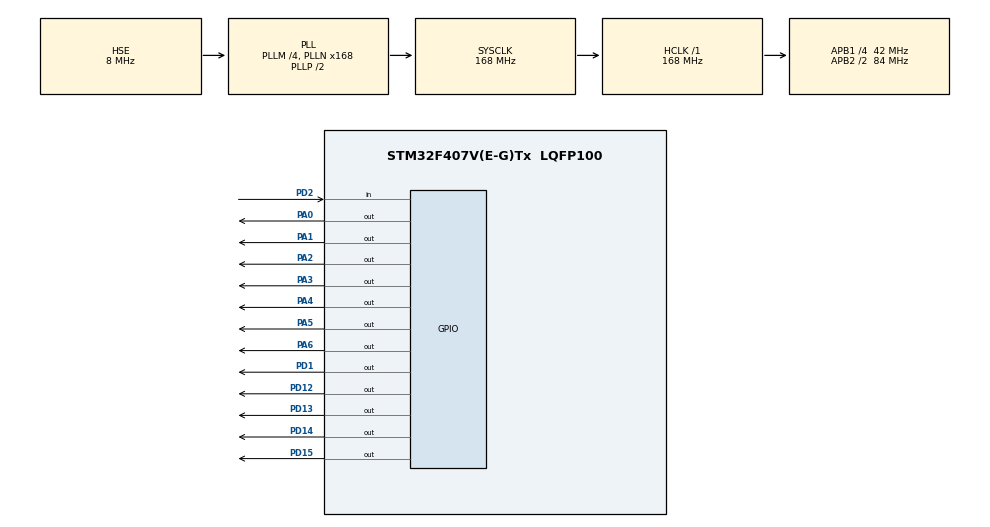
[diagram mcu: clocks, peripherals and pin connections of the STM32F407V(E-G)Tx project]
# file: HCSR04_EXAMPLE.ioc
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Mcu.Family=STM32F4
Mcu.Name=STM32F407V(E-G)Tx
Mcu.Package=LQFP100
NVIC.PriorityGroup=NVIC_PRIORITYGROUP_4
PA0-WKUP.Signal=GPIO_Output
PA1.Signal=GPIO_Output
PA2.Signal=GPIO_Output
PA3.Signal=GPIO_Output
PA4.Signal=GPIO_Output
PA5.Signal=GPIO_Output
PA6.Signal=GPIO_Output
PD1.Signal=GPIO_Output
PD12.Signal=GPIO_Output
PD13.Signal=GPIO_Output
PD14.Signal=GPIO_Output
PD15.Signal=GPIO_Output
PD2.Signal=GPIO_Input
PH0-OSC_IN.Mode=HSE-External-Oscillator
PH0-OSC_IN.Signal=RCC_OSC_IN
PH1-OSC_OUT.Mode=HSE-External-Oscillator
PH1-OSC_OUT.Signal=RCC_OSC_OUT
ProjectManager.HeapSize=0x200
ProjectManager.StackSize=0x400
ProjectManager.TargetToolchain=STM32CubeIDE
RCC.48MHZClocksFreq_Value=84000000
RCC.AHBFreq_Value=168000000
RCC.APB1CLKDivider=RCC_HCLK_DIV4
RCC.APB1Freq_Value=42000000
RCC.APB1TimFreq_Value=84000000
RCC.APB2CLKDivider=RCC_HCLK_DIV2
RCC.APB2Freq_Value=84000000
RCC.APB2TimFreq_Value=168000000
RCC.CortexFreq_Value=168000000
RCC.HCLKFreq_Value=168000000
RCC.HSE_VALUE=8000000
RCC.HSI_VALUE=16000000
RCC.LSE_VALUE=32768
RCC.PLLM=4
RCC.PLLN=168
RCC.PLLSourceVirtual=RCC_PLLSOURCE_HSE
RCC.SYSCLKFreq_VALUE=168000000
RCC.SYSCLKSource=RCC_SYSCLKSOURCE_PLLCLK
RCC.VCOOutputFreq_Value=336000000
board=custom

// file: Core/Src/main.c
/* USER CODE BEGIN Header */
/**
  ******************************************************************************
  * @file           : main.c
  * @brief          : Main program body
  ******************************************************************************
  * @attention
  *
  * Copyright (c) 2022 STMicroelectronics.
  * All rights reserved.
  *
  * This software is licensed under terms that can be found in the LICENSE file
  * in the root directory of this software component.
  * If no LICENSE file comes with this software, it is provided AS-IS.
  *
  ******************************************************************************
  */
/* USER CODE END Header */
#include "main.h"

/* USER CODE BEGIN Includes */

#include "dwt_stm32_delay.h"

/* USER CODE END Includes */

/* USER CODE BEGIN PV */
	uint32_t time;
	uint16_t distance;
/* USER CODE END PV */

void SystemClock_Config(void);
static void MX_GPIO_Init(void);

/* USER CODE BEGIN 0 */
	uint32_t Read_HCSR04(){
		uint32_t local_time=0;

		HAL_GPIO_WritePin(GPIOD, GPIO_PIN_1, GPIO_PIN_SET);
		DWT_Delay_us(10);
		HAL_GPIO_WritePin(GPIOD, GPIO_PIN_1, GPIO_PIN_RESET);
		while(!HAL_GPIO_ReadPin(GPIOD, GPIO_PIN_2));
		while(HAL_GPIO_ReadPin(GPIOD, GPIO_PIN_2)){
			local_time++;
			DWT_Delay_us(1);
		}
		return local_time;
	}
/* USER CODE END 0 */

int main(void)
{

  /* MCU Configuration--------------------------------------------------------*/

  /* Reset of all peripherals, Initializes the Flash interface and the Systick. */
  HAL_Init();

  /* Configure the system clock */
  SystemClock_Config();

  /* Initialize all configured peripherals */
  MX_GPIO_Init();
  /* USER CODE BEGIN 2 */
  DWT_Delay_Init();
  /* USER CODE END 2 */

  /* Infinite loop */
  while (1)
  {

    /* USER CODE BEGIN 3 */
	  time = Read_HCSR04();
	  distance = time / 58;

	switch(distance%10){
	case 0:
			HAL_GPIO_WritePin(GPIOA,GPIO_PIN_0 | GPIO_PIN_1 | GPIO_PIN_2 | GPIO_PIN_3 | GPIO_PIN_4 | GPIO_PIN_6, GPIO_PIN_SET);
			HAL_GPIO_WritePin(GPIOA,GPIO_PIN_5, GPIO_PIN_RESET);
	break;

	case 1:
			HAL_GPIO_WritePin(GPIOA,GPIO_PIN_1 | GPIO_PIN_2, GPIO_PIN_SET);
			HAL_GPIO_WritePin(GPIOA,GPIO_PIN_0| GPIO_PIN_3| GPIO_PIN_4| GPIO_PIN_5 | GPIO_PIN_6, GPIO_PIN_RESET);
	break;

	case 2:
			HAL_GPIO_WritePin(GPIOA,GPIO_PIN_0| GPIO_PIN_1 | GPIO_PIN_3 | GPIO_PIN_4| GPIO_PIN_5, GPIO_PIN_SET );
			HAL_GPIO_WritePin(GPIOA,GPIO_PIN_2| GPIO_PIN_6, GPIO_PIN_RESET);
	break;

	case 3:
			HAL_GPIO_WritePin(GPIOA,GPIO_PIN_0 | GPIO_PIN_1 | GPIO_PIN_2 | GPIO_PIN_3 | GPIO_PIN_5, GPIO_PIN_SET);
			HAL_GPIO_WritePin(GPIOA,GPIO_PIN_4 | GPIO_PIN_6, GPIO_PIN_RESET);
	break;

	case 4:
		HAL_GPIO_WritePin(GPIOA,GPIO_PIN_1 | GPIO_PIN_2 | GPIO_PIN_5 | GPIO_PIN_6, GPIO_PIN_SET);
		HAL_GPIO_WritePin(GPIOA,GPIO_PIN_0 | GPIO_PIN_3 | GPIO_PIN_4, GPIO_PIN_RESET);
	break;

	case 5:
		HAL_GPIO_WritePin(GPIOA,GPIO_PIN_0 | GPIO_PIN_2 | GPIO_PIN_3 | GPIO_PIN_5 | GPIO_PIN_6, GPIO_PIN_SET);
		HAL_GPIO_WritePin(GPIOA,GPIO_PIN_1 | GPIO_PIN_4, GPIO_PIN_RESET);
	break;

	case 6:
		HAL_GPIO_WritePin(GPIOA,GPIO_PIN_0 | GPIO_PIN_2 | GPIO_PIN_3 | GPIO_PIN_4 | GPIO_PIN_5 | GPIO_PIN_6, GPIO_PIN_SET);
		HAL_GPIO_WritePin(GPIOA,GPIO_PIN_1, GPIO_PIN_RESET);
	break;

	case 7:
		HAL_GPIO_WritePin(GPIOA,GPIO_PIN_0 | GPIO_PIN_1 | GPIO_PIN_2 | GPIO_PIN_6, GPIO_PIN_SET);
		HAL_GPIO_WritePin(GPIOA,GPIO_PIN_3 | GPIO_PIN_4 | GPIO_PIN_5, GPIO_PIN_RESET);
	break;

	case 8:
		HAL_GPIO_WritePin(GPIOA,GPIO_PIN_0 | GPIO_PIN_1 | GPIO_PIN_2 | GPIO_PIN_3 | GPIO_PIN_4 | GPIO_PIN_5 | GPIO_PIN_6, GPIO_PIN_SET);
	break;

	case 9:
		HAL_GPIO_WritePin(GPIOA,GPIO_PIN_0 | GPIO_PIN_1 | GPIO_PIN_2 | GPIO_PIN_3 | GPIO_PIN_5 | GPIO_PIN_6, GPIO_PIN_SET);
		HAL_GPIO_WritePin(GPIOA,GPIO_PIN_4, GPIO_PIN_RESET);

	break;
  }

}

  /* USER CODE END 3 */
}
void SystemClock_Config(void)
{
  RCC_OscInitTypeDef RCC_OscInitStruct = {0};
  RCC_ClkInitTypeDef RCC_ClkInitStruct = {0};

  /** Configure the main internal regulator output voltage
  */
  __HAL_RCC_PWR_CLK_ENABLE();
  __HAL_PWR_VOLTAGESCALING_CONFIG(PWR_REGULATOR_VOLTAGE_SCALE1);
  /** Initializes the RCC Oscillators according to the specified parameters
  * in the RCC_OscInitTypeDef structure.
  */
  RCC_OscInitStruct.OscillatorType = RCC_OSCILLATORTYPE_HSE;
  RCC_OscInitStruct.HSEState = RCC_HSE_ON;
  RCC_OscInitStruct.PLL.PLLState = RCC_PLL_ON;
  RCC_OscInitStruct.PLL.PLLSource = RCC_PLLSOURCE_HSE;
  RCC_OscInitStruct.PLL.PLLM = 4;
  RCC_OscInitStruct.PLL.PLLN = 168;
  RCC_OscInitStruct.PLL.PLLP = RCC_PLLP_DIV2;
  RCC_OscInitStruct.PLL.PLLQ = 4;
  if (HAL_RCC_OscConfig(&RCC_OscInitStruct) != HAL_OK)
  {
    Error_Handler();
  }
  /** Initializes the CPU, AHB and APB buses clocks
  */
  RCC_ClkInitStruct.ClockType = RCC_CLOCKTYPE_HCLK|RCC_CLOCKTYPE_SYSCLK
                              |RCC_CLOCKTYPE_PCLK1|RCC_CLOCKTYPE_PCLK2;
  RCC_ClkInitStruct.SYSCLKSource = RCC_SYSCLKSOURCE_PLLCLK;
  RCC_ClkInitStruct.AHBCLKDivider = RCC_SYSCLK_DIV1;
  RCC_ClkInitStruct.APB1CLKDivider = RCC_HCLK_DIV4;
  RCC_ClkInitStruct.APB2CLKDivider = RCC_HCLK_DIV2;

  if (HAL_RCC_ClockConfig(&RCC_ClkInitStruct, FLASH_LATENCY_5) != HAL_OK)
  {
    Error_Handler();
  }
}

static void MX_GPIO_Init(void)
{
  GPIO_InitTypeDef GPIO_InitStruct = {0};

  /* GPIO Ports Clock Enable */
  __HAL_RCC_GPIOH_CLK_ENABLE();
  __HAL_RCC_GPIOA_CLK_ENABLE();
  __HAL_RCC_GPIOD_CLK_ENABLE();

  /*Configure GPIO pin Output Level */
  HAL_GPIO_WritePin(GPIOA, GPIO_PIN_0|GPIO_PIN_1|GPIO_PIN_2|GPIO_PIN_3
                          |GPIO_PIN_4|GPIO_PIN_5|GPIO_PIN_6, GPIO_PIN_RESET);

  /*Configure GPIO pin Output Level */
  HAL_GPIO_WritePin(GPIOD, GPIO_PIN_12|GPIO_PIN_13|GPIO_PIN_14|GPIO_PIN_15
                          |GPIO_PIN_1, GPIO_PIN_RESET);

  /*Configure GPIO pins : PA0 PA1 PA2 PA3
                           PA4 PA5 PA6 */
  GPIO_InitStruct.Pin = GPIO_PIN_0|GPIO_PIN_1|GPIO_PIN_2|GPIO_PIN_3
                          |GPIO_PIN_4|GPIO_PIN_5|GPIO_PIN_6;
  GPIO_InitStruct.Mode = GPIO_MODE_OUTPUT_PP;
  GPIO_InitStruct.Pull = GPIO_NOPULL;
  GPIO_InitStruct.Speed = GPIO_SPEED_FREQ_LOW;
  HAL_GPIO_Init(GPIOA, &GPIO_InitStruct);

  /*Configure GPIO pins : PD12 PD13 PD14 PD15
                           PD1 */
  GPIO_InitStruct.Pin = GPIO_PIN_12|GPIO_PIN_13|GPIO_PIN_14|GPIO_PIN_15
                          |GPIO_PIN_1;
  GPIO_InitStruct.Mode = GPIO_MODE_OUTPUT_PP;
  GPIO_InitStruct.Pull = GPIO_NOPULL;
  GPIO_InitStruct.Speed = GPIO_SPEED_FREQ_LOW;
  HAL_GPIO_Init(GPIOD, &GPIO_InitStruct);

  /*Configure GPIO pin : PD2 */
  GPIO_InitStruct.Pin = GPIO_PIN_2;
  GPIO_InitStruct.Mode = GPIO_MODE_INPUT;
  GPIO_InitStruct.Pull = GPIO_NOPULL;
  HAL_GPIO_Init(GPIOD, &GPIO_InitStruct);

}

void Error_Handler(void)
{
  __disable_irq();
  while (1)
  {
  }
}
